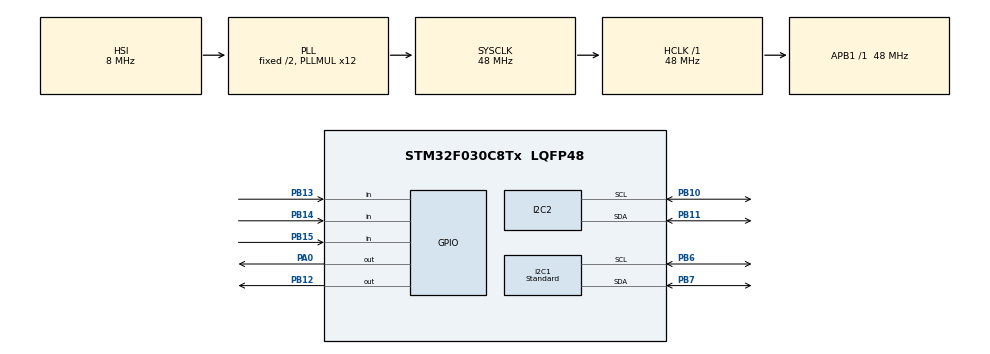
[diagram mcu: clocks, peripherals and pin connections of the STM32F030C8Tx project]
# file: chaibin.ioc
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FREERTOS.Tasks01=defaultTask,0,128,StartDefaultTask,Default,NULL
I2C1.Analog_Filter=I2C_ANALOGFILTER_DISABLE
I2C1.I2C_Speed_Mode=I2C_Standard
I2C1.Speed=100
I2C1.Timing=0x00101D2D
I2C2.Timing=0x20303E5D
Mcu.Family=STM32F0
Mcu.Name=STM32F030C8Tx
Mcu.Package=LQFP48
NVIC.TIM6_IRQn=true\:0\:0\:false\:false\:true\:false\:false
NVIC.TimeBase=TIM6_IRQn
NVIC.TimeBaseIP=TIM6
PA0.Signal=GPIO_Output
PA13.Mode=Serial_Wire
PA13.Signal=SYS_SWDIO
PA14.Mode=Serial_Wire
PA14.Signal=SYS_SWCLK
PB10.Mode=I2C
PB10.Signal=I2C2_SCL
PB11.Mode=I2C
PB11.Signal=I2C2_SDA
PB12.GPIO_ModeDefaultOutputPP=GPIO_MODE_OUTPUT_OD
PB12.GPIO_PuPd=GPIO_NOPULL
PB12.GPIO_Speed=GPIO_SPEED_FREQ_LOW
PB12.PinState=GPIO_PIN_SET
PB12.Signal=GPIO_Output
PB13.GPIO_PuPd=GPIO_PULLUP
PB13.Signal=GPIO_Input
PB14.GPIO_PuPd=GPIO_PULLUP
PB14.Signal=GPIO_Input
PB15.GPIO_PuPd=GPIO_PULLUP
PB15.Signal=GPIO_Input
PB6.Mode=I2C
PB6.Signal=I2C1_SCL
PB7.Mode=I2C
PB7.Signal=I2C1_SDA
ProjectManager.HeapSize=0x200
ProjectManager.StackSize=0x400
ProjectManager.TargetToolchain=MDK-ARM V5
RCC.AHBFreq_Value=48000000
RCC.APB1Freq_Value=48000000
RCC.APB1TimFreq_Value=48000000
RCC.HCLKFreq_Value=48000000
RCC.PLLMUL=RCC_PLL_MUL12
RCC.SYSCLKFreq_VALUE=48000000
RCC.SYSCLKSource=RCC_SYSCLKSOURCE_PLLCLK
VP_FREERTOS_VS_ENABLE.Mode=Enabled
VP_SYS_VS_tim6.Mode=TIM6
board=custom

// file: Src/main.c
/**
  ******************************************************************************
  * @file           : main.c
  * @brief          : Main program body
  ******************************************************************************
  * This notice applies to any and all portions of this file
  * that are not between comment pairs USER CODE BEGIN and
  * USER CODE END. Other portions of this file, whether
  * inserted by the user or by software development tools
  * are owned by their respective copyright owners.
  *
  * Copyright (c) 2018 STMicroelectronics International N.V.
  * All rights reserved.
  *
  * Redistribution and use in source and binary forms, with or without
  * modification, are permitted, provided that the following conditions are met:
  *
  * 1. Redistribution of source code must retain the above copyright notice,
  *    this list of conditions and the following disclaimer.
  * 2. Redistributions in binary form must reproduce the above copyright notice,
  *    this list of conditions and the following disclaimer in the documentation
  *    and/or other materials provided with the distribution.
  * 3. Neither the name of STMicroelectronics nor the names of other
  *    contributors to this software may be used to endorse or promote products
  *    derived from this software without specific written permission.
  * 4. This software, including modifications and/or derivative works of this
  *    software, must execute solely and exclusively on microcontroller or
  *    microprocessor devices manufactured by or for STMicroelectronics.
  * 5. Redistribution and use of this software other than as permitted under
  *    this license is void and will automatically terminate your rights under
  *    this license.
  *
  * THIS SOFTWARE IS PROVIDED BY STMICROELECTRONICS AND CONTRIBUTORS "AS IS"
  * AND ANY EXPRESS, IMPLIED OR STATUTORY WARRANTIES, INCLUDING, BUT NOT
  * LIMITED TO, THE IMPLIED WARRANTIES OF MERCHANTABILITY, FITNESS FOR A
  * PARTICULAR PURPOSE AND NON-INFRINGEMENT OF THIRD PARTY INTELLECTUAL PROPERTY
  * RIGHTS ARE DISCLAIMED TO THE FULLEST EXTENT PERMITTED BY LAW. IN NO EVENT
  * SHALL STMICROELECTRONICS OR CONTRIBUTORS BE LIABLE FOR ANY DIRECT, INDIRECT,
  * INCIDENTAL, SPECIAL, EXEMPLARY, OR CONSEQUENTIAL DAMAGES (INCLUDING, BUT NOT
  * LIMITED TO, PROCUREMENT OF SUBSTITUTE GOODS OR SERVICES; LOSS OF USE, DATA,
  * OR PROFITS; OR BUSINESS INTERRUPTION) HOWEVER CAUSED AND ON ANY THEORY OF
  * LIABILITY, WHETHER IN CONTRACT, STRICT LIABILITY, OR TORT (INCLUDING
  * NEGLIGENCE OR OTHERWISE) ARISING IN ANY WAY OUT OF THE USE OF THIS SOFTWARE,
  * EVEN IF ADVISED OF THE POSSIBILITY OF SUCH DAMAGE.
  *
  ******************************************************************************
  */
#include "main.h"
#include "stm32f0xx_hal.h"
#include "cmsis_os.h"

/* USER CODE BEGIN Includes */
#include "dht11.h"
#include "ssd1306.h"
#include "bmp180.h"
/* USER CODE END Includes */

I2C_HandleTypeDef hi2c1;
I2C_HandleTypeDef hi2c2;

osThreadId defaultTaskHandle;

/* USER CODE BEGIN PV */
/* Private variables ---------------------------------------------------------*/
uint8_t temperature;
uint8_t humidity;

/* USER CODE END PV */

void SystemClock_Config(void);
static void MX_GPIO_Init(void);
static void MX_I2C1_Init(void);
static void MX_I2C2_Init(void);
void StartDefaultTask(void const * argument);

/* USER CODE BEGIN PFP */
/* Private function prototypes -----------------------------------------------*/

/* USER CODE END PFP */

int main(void)
{

  /* MCU Configuration----------------------------------------------------------*/

  /* Reset of all peripherals, Initializes the Flash interface and the Systick. */
  HAL_Init();

  /* Configure the system clock */
  SystemClock_Config();

  /* Initialize all configured peripherals */
  MX_GPIO_Init();
  MX_I2C1_Init();
  MX_I2C2_Init();

  /* Create the thread(s) */
  /* definition and creation of defaultTask */
  osThreadDef(defaultTask, StartDefaultTask, osPriorityNormal, 0, 128);
  defaultTaskHandle = osThreadCreate(osThread(defaultTask), NULL);

  /* Start scheduler */
  osKernelStart();

  /* We should never get here as control is now taken by the scheduler */

  /* Infinite loop */
  while (1)
  {

  }

}

void SystemClock_Config(void)
{

  RCC_OscInitTypeDef RCC_OscInitStruct;
  RCC_ClkInitTypeDef RCC_ClkInitStruct;
  RCC_PeriphCLKInitTypeDef PeriphClkInit;

    /**Initializes the CPU, AHB and APB busses clocks
    */
  RCC_OscInitStruct.OscillatorType = RCC_OSCILLATORTYPE_HSI;
  RCC_OscInitStruct.HSIState = RCC_HSI_ON;
  RCC_OscInitStruct.HSICalibrationValue = 16;
  RCC_OscInitStruct.PLL.PLLState = RCC_PLL_ON;
  RCC_OscInitStruct.PLL.PLLSource = RCC_PLLSOURCE_HSI;
  RCC_OscInitStruct.PLL.PLLMUL = RCC_PLL_MUL12;
  RCC_OscInitStruct.PLL.PREDIV = RCC_PREDIV_DIV1;
  if (HAL_RCC_OscConfig(&RCC_OscInitStruct) != HAL_OK)
  {
    _Error_Handler(__FILE__, __LINE__);
  }

    /**Initializes the CPU, AHB and APB busses clocks
    */
  RCC_ClkInitStruct.ClockType = RCC_CLOCKTYPE_HCLK|RCC_CLOCKTYPE_SYSCLK
                              |RCC_CLOCKTYPE_PCLK1;
  RCC_ClkInitStruct.SYSCLKSource = RCC_SYSCLKSOURCE_PLLCLK;
  RCC_ClkInitStruct.AHBCLKDivider = RCC_SYSCLK_DIV1;
  RCC_ClkInitStruct.APB1CLKDivider = RCC_HCLK_DIV1;

  if (HAL_RCC_ClockConfig(&RCC_ClkInitStruct, FLASH_LATENCY_1) != HAL_OK)
  {
    _Error_Handler(__FILE__, __LINE__);
  }

  PeriphClkInit.PeriphClockSelection = RCC_PERIPHCLK_I2C1;
  PeriphClkInit.I2c1ClockSelection = RCC_I2C1CLKSOURCE_HSI;
  if (HAL_RCCEx_PeriphCLKConfig(&PeriphClkInit) != HAL_OK)
  {
    _Error_Handler(__FILE__, __LINE__);
  }

    /**Configure the Systick interrupt time
    */
  HAL_SYSTICK_Config(HAL_RCC_GetHCLKFreq()/1000);

    /**Configure the Systick
    */
  HAL_SYSTICK_CLKSourceConfig(SYSTICK_CLKSOURCE_HCLK);

  /* SysTick_IRQn interrupt configuration */
  HAL_NVIC_SetPriority(SysTick_IRQn, 3, 0);
}

/* I2C1 init function */
static void MX_I2C1_Init(void)
{

  hi2c1.Instance = I2C1;
  hi2c1.Init.Timing = 0x00101D2D;
  hi2c1.Init.OwnAddress1 = 0;
  hi2c1.Init.AddressingMode = I2C_ADDRESSINGMODE_7BIT;
  hi2c1.Init.DualAddressMode = I2C_DUALADDRESS_DISABLE;
  hi2c1.Init.OwnAddress2 = 0;
  hi2c1.Init.OwnAddress2Masks = I2C_OA2_NOMASK;
  hi2c1.Init.GeneralCallMode = I2C_GENERALCALL_DISABLE;
  hi2c1.Init.NoStretchMode = I2C_NOSTRETCH_DISABLE;
  if (HAL_I2C_Init(&hi2c1) != HAL_OK)
  {
    _Error_Handler(__FILE__, __LINE__);
  }

    /**Configure Analogue filter
    */
  if (HAL_I2CEx_ConfigAnalogFilter(&hi2c1, I2C_ANALOGFILTER_DISABLE) != HAL_OK)
  {
    _Error_Handler(__FILE__, __LINE__);
  }

    /**Configure Digital filter
    */
  if (HAL_I2CEx_ConfigDigitalFilter(&hi2c1, 0) != HAL_OK)
  {
    _Error_Handler(__FILE__, __LINE__);
  }

}

/* I2C2 init function */
static void MX_I2C2_Init(void)
{

  hi2c2.Instance = I2C2;
  hi2c2.Init.Timing = 0x20303E5D;
  hi2c2.Init.OwnAddress1 = 0;
  hi2c2.Init.AddressingMode = I2C_ADDRESSINGMODE_7BIT;
  hi2c2.Init.DualAddressMode = I2C_DUALADDRESS_DISABLE;
  hi2c2.Init.OwnAddress2 = 0;
  hi2c2.Init.OwnAddress2Masks = I2C_OA2_NOMASK;
  hi2c2.Init.GeneralCallMode = I2C_GENERALCALL_DISABLE;
  hi2c2.Init.NoStretchMode = I2C_NOSTRETCH_DISABLE;
  if (HAL_I2C_Init(&hi2c2) != HAL_OK)
  {
    _Error_Handler(__FILE__, __LINE__);
  }

    /**Configure Analogue filter
    */
  if (HAL_I2CEx_ConfigAnalogFilter(&hi2c2, I2C_ANALOGFILTER_ENABLE) != HAL_OK)
  {
    _Error_Handler(__FILE__, __LINE__);
  }

    /**Configure Digital filter
    */
  if (HAL_I2CEx_ConfigDigitalFilter(&hi2c2, 0) != HAL_OK)
  {
    _Error_Handler(__FILE__, __LINE__);
  }

}

/** Configure pins as
        * Analog
        * Input
        * Output
        * EVENT_OUT
        * EXTI
*/
static void MX_GPIO_Init(void)
{

  GPIO_InitTypeDef GPIO_InitStruct;

  /* GPIO Ports Clock Enable */
  __HAL_RCC_GPIOA_CLK_ENABLE();
  __HAL_RCC_GPIOB_CLK_ENABLE();

  /*Configure GPIO pin Output Level */
  HAL_GPIO_WritePin(GPIOA, GPIO_PIN_0, GPIO_PIN_RESET);

  /*Configure GPIO pin Output Level */
  HAL_GPIO_WritePin(GPIOB, GPIO_PIN_12, GPIO_PIN_SET);

  /*Configure GPIO pin : PA0 */
  GPIO_InitStruct.Pin = GPIO_PIN_0;
  GPIO_InitStruct.Mode = GPIO_MODE_OUTPUT_PP;
  GPIO_InitStruct.Pull = GPIO_NOPULL;
  GPIO_InitStruct.Speed = GPIO_SPEED_FREQ_LOW;
  HAL_GPIO_Init(GPIOA, &GPIO_InitStruct);

  /*Configure GPIO pin : PB12 */
  GPIO_InitStruct.Pin = GPIO_PIN_12;
  GPIO_InitStruct.Mode = GPIO_MODE_OUTPUT_OD;
  GPIO_InitStruct.Pull = GPIO_NOPULL;
  GPIO_InitStruct.Speed = GPIO_SPEED_FREQ_LOW;
  HAL_GPIO_Init(GPIOB, &GPIO_InitStruct);

  /*Configure GPIO pins : PB13 PB14 PB15 */
  GPIO_InitStruct.Pin = GPIO_PIN_13|GPIO_PIN_14|GPIO_PIN_15;
  GPIO_InitStruct.Mode = GPIO_MODE_INPUT;
  GPIO_InitStruct.Pull = GPIO_PULLUP;
  HAL_GPIO_Init(GPIOB, &GPIO_InitStruct);

}

/* USER CODE BEGIN 4 */
uint8_t buffer[5];
uint8_t disp_buffer[20];
double hum;
double temp;
double warning_temp = 35.0f;
int32_t pressure;
/* USER CODE END 4 */

/* StartDefaultTask function */
void StartDefaultTask(void const * argument)
{

  /* USER CODE BEGIN 5 */
	uint16_t i;

  ssd1306_Init();			//???OLED

  /* Infinite loop */
  for(;;)
  {
		for(i=0; i<16; i++)
		{
			osDelay(50);
			if(!HAL_GPIO_ReadPin(GPIOB, GPIO_PIN_15))
			{
				//等待松开按键
				while(!HAL_GPIO_ReadPin(GPIOB, GPIO_PIN_15))
				{
					osDelay(50);
				}

				ssd1306_Fill(Black);
				ssd1306_SetCursor(0,0);
				sprintf((char*)disp_buffer, "%2.1f'C", warning_temp);
				ssd1306_WriteString((char*)disp_buffer,Font_11x18,White);
				ssd1306_UpdateScreen();

				while(HAL_GPIO_ReadPin(GPIOB, GPIO_PIN_15))
				{
					if(!HAL_GPIO_ReadPin(GPIOB, GPIO_PIN_14))
					{
						warning_temp++;
						ssd1306_Fill(Black);
						ssd1306_SetCursor(0,0);
						sprintf((char*)disp_buffer, "%2.1f'C", warning_temp);
						ssd1306_WriteString((char*)disp_buffer,Font_11x18,White);
						ssd1306_UpdateScreen();
						while(!HAL_GPIO_ReadPin(GPIOB, GPIO_PIN_14))
						{
							osDelay(50);
						}
					}
					if(!HAL_GPIO_ReadPin(GPIOB, GPIO_PIN_13))
					{
						warning_temp--;
						ssd1306_Fill(Black);
						ssd1306_SetCursor(0,0);
						sprintf((char*)disp_buffer, "%2.1f'C", warning_temp);
						ssd1306_WriteString((char*)disp_buffer,Font_11x18,White);
						ssd1306_UpdateScreen();
						while(!HAL_GPIO_ReadPin(GPIOB, GPIO_PIN_13))
						{
							osDelay(50);
						}
					}
					osDelay(50);
				}
				break;
			}
		}

		if (dht11_read_data(buffer) == 0)
		{
				hum = buffer[0] + buffer[1] / 10.0;
				temp = buffer[2] + buffer[3] / 10.0;
		}

		if(temp > warning_temp)
		{
			HAL_GPIO_WritePin(GPIOA, GPIO_PIN_0, 1);
		}
		else
		{
			HAL_GPIO_WritePin(GPIOA, GPIO_PIN_0, 0);
		}

		pressure = bmp180_data_readout_template();

		ssd1306_Fill(Black);

		ssd1306_SetCursor(0,0);
		sprintf((char*)disp_buffer, "%2.1f'C", temp);
		ssd1306_WriteString((char*)disp_buffer,Font_11x18,White);

		ssd1306_SetCursor(0,22);
		sprintf((char*)disp_buffer, "%2.1f%%", hum);
		ssd1306_WriteString((char*)disp_buffer,Font_11x18,White);

		ssd1306_SetCursor(0,45);
		sprintf((char*)disp_buffer, "%dp", pressure);
		ssd1306_WriteString((char*)disp_buffer,Font_11x18,White);

//		ssd1306_SetCursor(65,0);
//		sprintf((char*)disp_buffer, "%f", hum);
//		ssd1306_WriteString((char*)disp_buffer,Font_11x18,White);

		ssd1306_UpdateScreen();

  }
  /* USER CODE END 5 */
}

void HAL_TIM_PeriodElapsedCallback(TIM_HandleTypeDef *htim)
{
  if (htim->Instance == TIM6) {
    HAL_IncTick();
  }
}

void _Error_Handler(char *file, int line)
{
  while(1)
  {
  }
}

/************************ (C) COPYRIGHT STMicroelectronics *****END OF FILE****/
